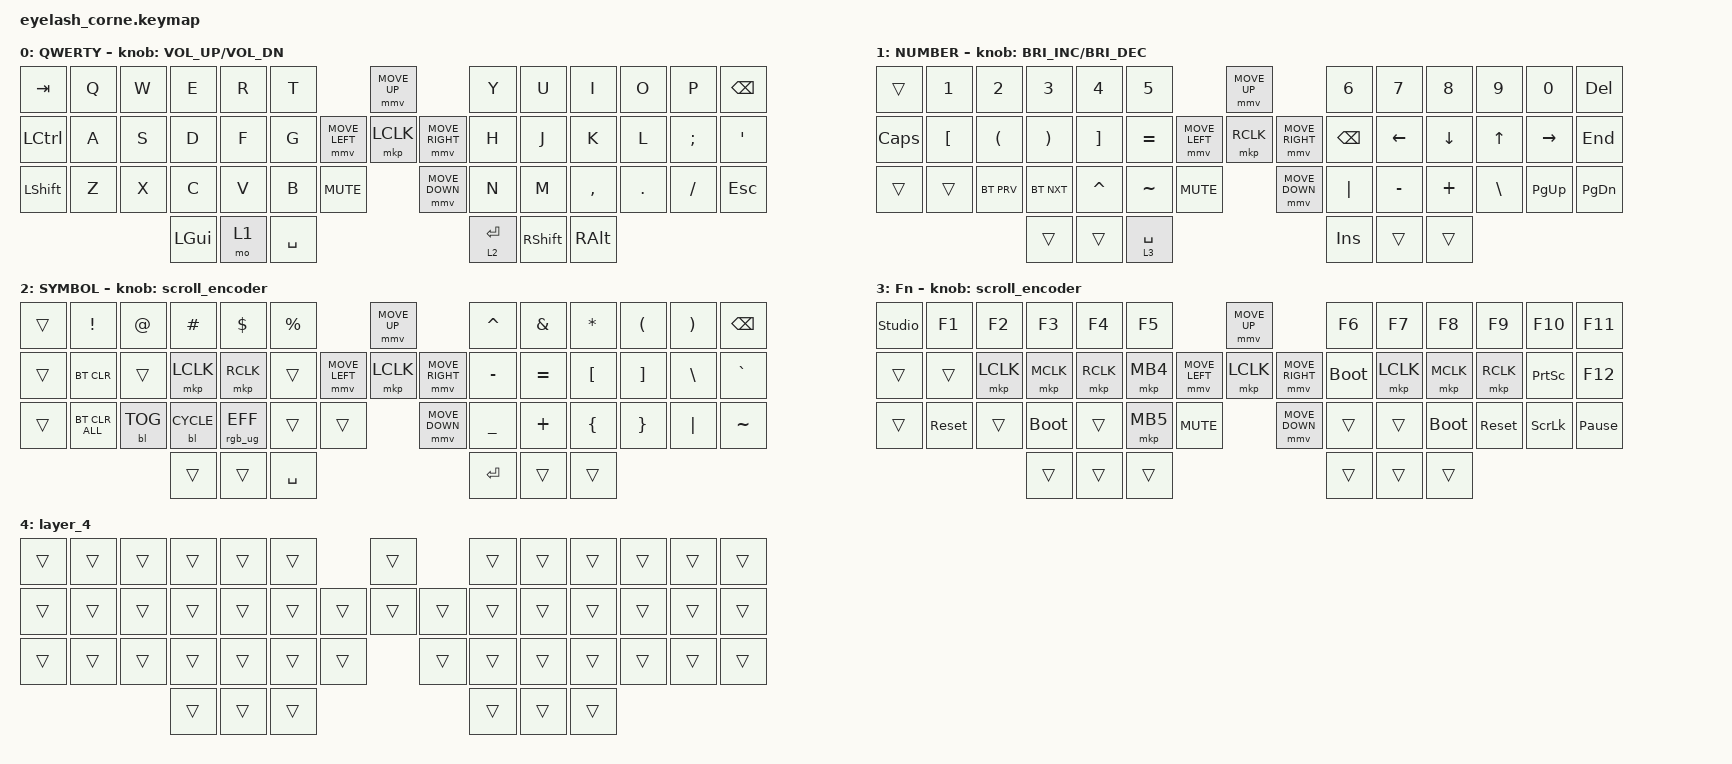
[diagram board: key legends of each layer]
#define ZMK_POINTING_DEFAULT_MOVE_VAL 1200  // 600
#define ZMK_POINTING_DEFAULT_SCRL_VAL 25   // 10

#include <input/processors.dtsi>
#include <zephyr/dt-bindings/input/input-event-codes.h>
#include <behaviors.dtsi>
#include <dt-bindings/zmk/backlight.h>
#include <dt-bindings/zmk/bt.h>
#include <dt-bindings/zmk/keys.h>
#include <dt-bindings/zmk/pointing.h>
#include <dt-bindings/zmk/rgb.h>

&mmv_input_listener { input-processors = <&zip_xy_scaler 2 1>; };

&msc_input_listener { input-processors = <&zip_scroll_scaler 2 1>; };

&msc {
    acceleration-exponent = <1>;      // 0
    time-to-max-speed-ms = <100>;       // 300
    delay-ms = <0>;                   // 0
};

&mmv {
    time-to-max-speed-ms = <500>;
    acceleration-exponent = <1>;
    trigger-period-ms = <16>;
};

&soft_off { hold-time-ms = <2000>; };

/ {
    behaviors {
        td0: td0 {
            compatible = "zmk,behavior-tap-dance";
            display-name = "Shift/Caps Lock Tap Dance";
            #binding-cells = <0>;
            bindings = <&kp LEFT_SHIFT>, <&kp CAPS>;
        };
    };

    rgb_encoder: rgb_encoder {
        compatible = "zmk,behavior-sensor-rotate";
        #sensor-binding-cells = <0>;
        bindings = <&rgb_ug RGB_BRI>, <&rgb_ug RGB_BRD>;
    };

    scroll_encoder: scroll_encoder {
        compatible = "zmk,behavior-sensor-rotate";
        #sensor-binding-cells = <0>;
        bindings = <&msc SCRL_DOWN>, <&msc SCRL_UP>;

        tap-ms = <100>;
    };

    combos {
        compatible = "zmk,combos";

        softoff {
            bindings = <&soft_off>;
            key-positions = <1 15 29>;
        };
    };

    keymap {
        compatible = "zmk,keymap";

        default_layer {
            display-name = "QWERTY";
            bindings = <
&kp TAB         &kp Q  &kp W  &kp E     &kp R  &kp T                                    &mmv MOVE_UP                     &kp Y        &kp U      &kp I      &kp O    &kp P     &kp BSPC
&kp LCTRL       &kp A  &kp S  &kp D     &kp F  &kp G                    &mmv MOVE_LEFT  &mkp LCLK       &mmv MOVE_RIGHT  &kp H        &kp J      &kp K      &kp L    &kp SEMI  &kp SQT
&kp LEFT_SHIFT  &kp Z  &kp X  &kp C     &kp V  &kp B      &kp K_MUTE                    &mmv MOVE_DOWN                   &kp N        &kp M      &kp COMMA  &kp DOT  &kp FSLH  &kp ESC
                              &kp LGUI  &mo 1  &kp SPACE                                                                 &lt 2 ENTER  &kp RSHFT  &kp RALT
            >;

            sensor-bindings = <&inc_dec_kp C_VOLUME_UP C_VOL_DN>;
        };

        lower_layer {
            display-name = "NUMBER";
            bindings = <
&trans    &kp N1    &kp N2                &kp N3                 &kp N4             &kp N5                                     &mmv MOVE_UP                     &kp N6         &kp N7     &kp N8    &kp N9         &kp N0       &kp DEL
&kp CAPS  &kp LBKT  &kp LEFT_PARENTHESIS  &kp RIGHT_PARENTHESIS  &kp RIGHT_BRACKET  &kp EQUAL                  &mmv MOVE_LEFT  &mkp RCLK       &mmv MOVE_RIGHT  &kp BACKSPACE  &kp LEFT   &kp DOWN  &kp UP         &kp RIGHT    &kp END
&trans    &trans    &bt BT_PRV            &bt BT_NXT             &kp CARET          &kp TILDE    &kp C_MUTE                    &mmv MOVE_DOWN                   &kp PIPE       &kp MINUS  &kp PLUS  &kp BACKSLASH  &kp PAGE_UP  &kp PG_DN
                                          &trans                 &trans             &lt 3 SPACE                                                                 &kp INS        &trans     &trans
            >;

            sensor-bindings = <&inc_dec_kp C_BRIGHTNESS_INC C_BRIGHTNESS_DEC>;
        };

        raise_layer {
            display-name = "SYMBOL";
            bindings = <
&trans  &kp EXCL        &kp AT      &kp HASH      &kp DLLR         &kp PRCNT                            &mmv MOVE_UP                     &kp CARET  &kp AMPS   &kp ASTRK  &kp LPAR  &kp RPAR  &kp BSPC
&trans  &bt BT_CLR      &trans      &mkp LCLK     &mkp RCLK        &trans               &mmv MOVE_LEFT  &mkp LCLK       &mmv MOVE_RIGHT  &kp MINUS  &kp EQUAL  &kp LBKT   &kp RBKT  &kp BSLH  &kp GRAVE
&trans  &bt BT_CLR_ALL  &bl BL_TOG  &bl BL_CYCLE  &rgb_ug RGB_EFF  &trans     &trans                    &mmv MOVE_DOWN                   &kp UNDER  &kp PLUS   &kp LBRC   &kp RBRC  &kp PIPE  &kp TILDE
                                    &trans        &trans           &kp SPACE                                                             &kp RET    &trans     &trans
            >;

            sensor-bindings = <&scroll_encoder>;
        };

        layer_3 {
            display-name = "Fn";
            bindings = <
&studio_unlock  &kp F1      &kp F2     &kp F3       &kp F4     &kp F5                                  &mmv MOVE_UP                     &kp F6       &kp F7     &kp F8       &kp F9      &kp F10          &kp F11
&trans          &trans      &mkp LCLK  &mkp MCLK    &mkp RCLK  &mkp MB4                &mmv MOVE_LEFT  &mkp LCLK       &mmv MOVE_RIGHT  &bootloader  &mkp LCLK  &mkp MCLK    &mkp RCLK   &kp PRINTSCREEN  &kp F12
&trans          &sys_reset  &trans     &bootloader  &trans     &mkp MB5  &kp C_MUTE                    &mmv MOVE_DOWN                   &trans       &trans     &bootloader  &sys_reset  &kp SCROLLLOCK   &kp PAUSE_BREAK
                                       &trans       &trans     &trans                                                                   &trans       &trans     &trans
            >;

            sensor-bindings = <&scroll_encoder>;
        };

        layer_4 {
            bindings = <
&trans  &trans  &trans  &trans  &trans  &trans                    &trans          &trans  &trans  &trans  &trans  &trans  &trans
&trans  &trans  &trans  &trans  &trans  &trans            &trans  &trans  &trans  &trans  &trans  &trans  &trans  &trans  &trans
&trans  &trans  &trans  &trans  &trans  &trans  &trans            &trans          &trans  &trans  &trans  &trans  &trans  &trans
                        &trans  &trans  &trans                                    &trans  &trans  &trans
            >;
        };
    };
};
